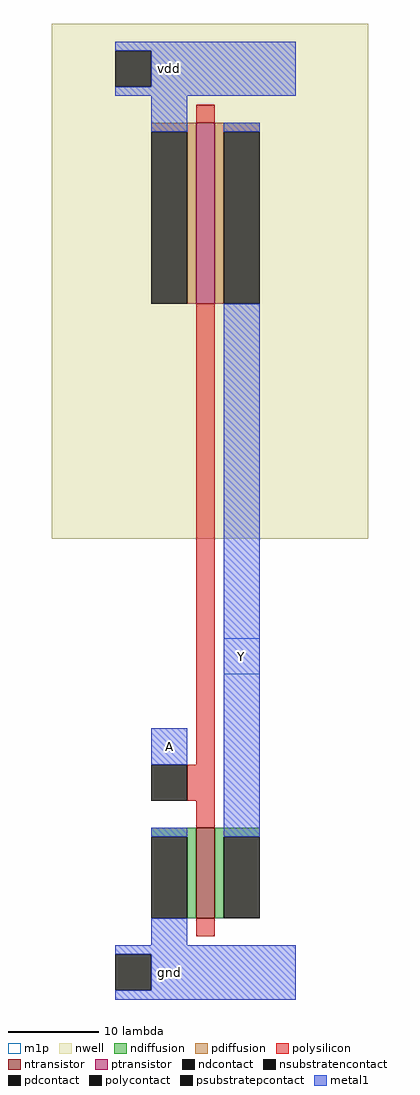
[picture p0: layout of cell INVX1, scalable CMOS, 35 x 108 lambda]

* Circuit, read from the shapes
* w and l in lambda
.subckt INVX1 A Y gnd vdd
M1 Y A gnd gnd nfet w=10 l=2
M2 Y A vdd vdd pfet w=20 l=2
.ends

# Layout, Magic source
magic
tech scmos
<< nwell >>
rect -9 48 26 105
<< ntransistor >>
rect 7 6 9 16
<< ptransistor >>
rect 7 74 9 94
<< ndiffusion >>
rect 2 15 7 16
rect 6 6 7 15
rect 9 15 14 16
rect 9 6 10 15
<< pdiffusion >>
rect 2 93 7 94
rect 6 74 7 93
rect 9 93 14 94
rect 9 74 10 93
<< ndcontact >>
rect 2 6 6 15
rect 10 6 14 15
<< pdcontact >>
rect 2 74 6 93
rect 10 74 14 93
<< psubstratepcontact >>
rect -2 -2 2 2
<< nsubstratencontact >>
rect -2 98 2 102
<< polysilicon >>
rect 7 94 9 96
rect 7 23 9 74
rect 6 19 9 23
rect 7 16 9 19
rect 7 4 9 6
<< polycontact >>
rect 2 19 6 23
<< metal1 >>
rect -2 102 18 103
rect 2 98 18 102
rect -2 97 18 98
rect 2 93 6 97
rect 10 93 14 94
rect 2 23 6 27
rect 2 15 6 16
rect 10 15 14 74
rect 2 3 6 6
rect -2 2 18 3
rect 2 -2 18 2
rect -2 -3 18 -2
<< m1p >>
rect 10 33 14 37
rect 2 23 6 27
<< labels >>
rlabel metal1 4 25 4 25 4 A
rlabel metal1 12 35 12 35 4 Y
rlabel metal1 4 100 4 100 4 vdd
rlabel metal1 4 0 4 0 4 gnd
<< end >>
